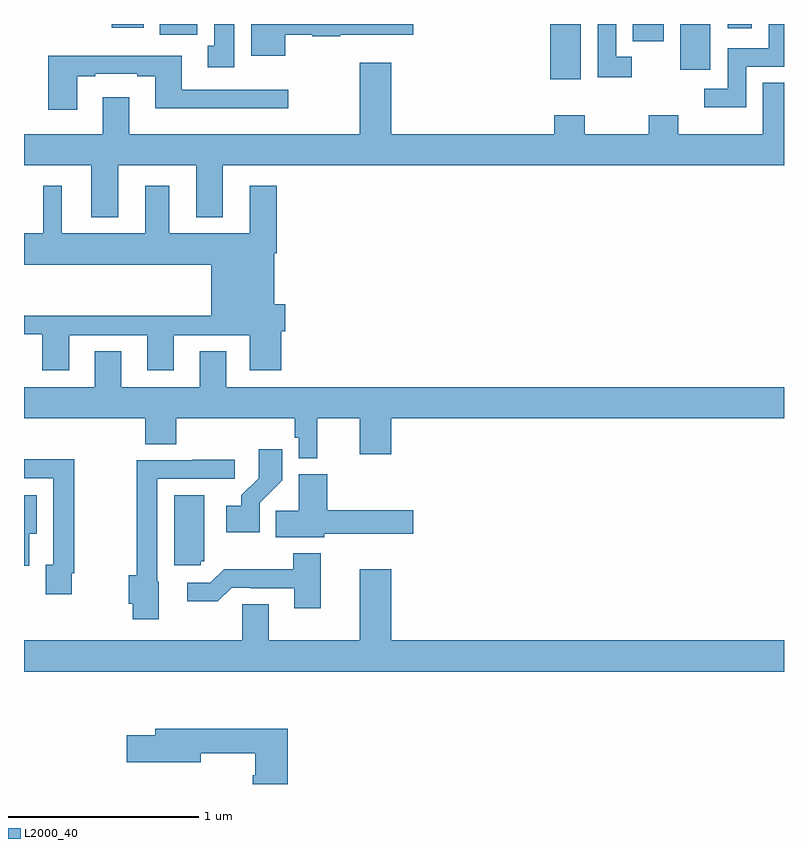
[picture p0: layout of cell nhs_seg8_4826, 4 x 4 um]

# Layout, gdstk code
import gdstk
lib = gdstk.Library(unit=1e-6, precision=1e-09)
def R(c, l, rs):  # rectangles x0, y0, x1, y1
    for r in rs: c.add(gdstk.rectangle(r[:2], r[2:], *l))
def P(c, l, *ps):  # polygons
    for p in ps: c.add(gdstk.Polygon(p, *l))
L2000_40 = (2000, 40)

nhs_seg8_4826 = lib.new_cell('nhs_seg8_4826')
R(nhs_seg8_4826, L2000_40, [(405.77,1127.61,405.931,1127.9), (406.454,1127.66,406.612,1127.9), (406.205,1127.808,406.366,1127.9), (403.715,1127.844,403.911,1127.9), (406.704,1127.877,406.831,1127.9), (403.463,1127.88,403.63,1127.9)])
P(nhs_seg8_4826, L2000_40, [(404.374,1127.844),(404.517,1127.844),(404.517,1127.836),(404.664,1127.836),(404.664,1127.843),(405.049,1127.843),(405.049,1127.9),(404.195,1127.9),(404.195,1127.732),(404.374,1127.732)],
  [(406.198,1127.727),(406.116,1127.727),(406.116,1127.9),(406.02,1127.9),(406.02,1127.619),(406.198,1127.619)],
  [(406.8,1127.676),(407,1127.676),(407,1127.9),(406.919,1127.9),(406.919,1127.772),(406.704,1127.772),(406.704,1127.559),(406.581,1127.559),(406.581,1127.462),(406.8,1127.462)],
  [(404.107,1127.9),(404,1127.9),(404,1127.785),(403.967,1127.785),(403.967,1127.673),(404.107,1127.673)],
  [(403.279,1127.625),(403.375,1127.625),(403.375,1127.637),(403.595,1127.637),(403.595,1127.625),(403.691,1127.625),(403.691,1127.456),(404.392,1127.456),(404.392,1127.553),(403.831,1127.553),(403.831,1127.734),(403.127,1127.734),(403.127,1127.448),(403.279,1127.448)],
  [(403,1127.156),(403.355,1127.156),(403.355,1126.883),(403.495,1126.883),(403.495,1127.156),(403.907,1127.156),(403.907,1126.883),(404.047,1126.883),(404.047,1127.156),(407,1127.156),(407,1127.591),(406.889,1127.591),(406.889,1127.32),(406.443,1127.32),(406.443,1127.419),(406.288,1127.419),(406.288,1127.32),(405.951,1127.32),(405.951,1127.419),(405.791,1127.419),(405.791,1127.32),(404.932,1127.32),(404.932,1127.695),(404.768,1127.695),(404.768,1127.32),(403.555,1127.32),(403.555,1127.515),(403.415,1127.515),(403.415,1127.32),(403,1127.32)],
  [(403.237,1126.263),(403.649,1126.263),(403.649,1126.077),(403.789,1126.077),(403.789,1126.263),(404.189,1126.263),(404.189,1126.077),(404.354,1126.077),(404.354,1126.282),(404.374,1126.282),(404.374,1126.424),(404.317,1126.424),(404.317,1126.694),(404.33,1126.694),(404.33,1127.05),(404.189,1127.05),(404.189,1126.798),(403.765,1126.798),(403.765,1127.05),(403.637,1127.05),(403.637,1126.798),(403.198,1126.798),(403.198,1127.05),(403.1,1127.05),(403.1,1126.798),(403,1126.798),(403,1126.634),(403.985,1126.634),(403.985,1126.364),(403.001,1126.364),(403.001,1126.367),(403,1126.367),(403,1126.266),(403.097,1126.266),(403.097,1126.077),(403.237,1126.077)],
  [(404.544,1125.824),(404.768,1125.824),(404.768,1125.636),(404.932,1125.636),(404.932,1125.824),(407,1125.824),(407,1125.988),(404.065,1125.988),(404.065,1126.178),(403.925,1126.178),(403.925,1125.988),(403.513,1125.988),(403.513,1126.178),(403.373,1126.178),(403.373,1125.988),(403,1125.988),(403,1125.824),(403.637,1125.824),(403.637,1125.688),(403.802,1125.688),(403.802,1125.824),(404.425,1125.824),(404.425,1125.723),(404.445,1125.723),(404.445,1125.614),(404.544,1125.614)],
  [(404.241,1125.379),(404.36,1125.498),(404.36,1125.661),(404.235,1125.661),(404.235,1125.509),(404.144,1125.419),(404.144,1125.364),(404.064,1125.364),(404.064,1125.224),(404.241,1125.224)],
  [(403.251,1125.01),(403.264,1125.01),(403.264,1125.608),(403,1125.608),(403,1125.51),(403.155,1125.51),(403.155,1125.054),(403.115,1125.054),(403.115,1124.898),(403.251,1124.898)],
  [(403.708,1124.964),(403.701,1124.964),(403.701,1125.507),(404.11,1125.507),(404.11,1125.606),(403.885,1125.606),(403.885,1125.603),(403.593,1125.603),(403.593,1124.999),(403.55,1124.999),(403.55,1124.85),(403.572,1124.85),(403.572,1124.768),(403.708,1124.768)],
  [(404.58,1125.218),(405.049,1125.218),(405.049,1125.34),(404.597,1125.34),(404.597,1125.529),(404.447,1125.529),(404.447,1125.338),(404.326,1125.338),(404.326,1125.2),(404.58,1125.2)],
  [(403.929,1125.072),(403.948,1125.072),(403.948,1125.421),(403.79,1125.421),(403.79,1125.051),(403.929,1125.051)],
  [(403.027,1125.218),(403.066,1125.218),(403.066,1125.421),(403,1125.421),(403,1125.05),(403.027,1125.05)],
  [(404.563,1125.115),(404.416,1125.115),(404.416,1125.031),(404.053,1125.031),(403.98,1124.958),(403.86,1124.958),(403.86,1124.861),(404.021,1124.861),(404.094,1124.934),(404.194,1124.934),(404.194,1124.931),(404.423,1124.931),(404.423,1124.826),(404.563,1124.826)],
  [(407,1124.656),(404.932,1124.656),(404.932,1125.031),(404.768,1125.031),(404.768,1124.656),(404.287,1124.656),(404.287,1124.846),(404.148,1124.846),(404.148,1124.656),(403,1124.656),(403,1124.492),(407,1124.492)],
  [(404.387,1124.191),(403.691,1124.191),(403.691,1124.157),(403.542,1124.157),(403.542,1124.015),(403.93,1124.015),(403.93,1124.062),(404.216,1124.062),(404.216,1123.947),(404.204,1123.947),(404.204,1123.9),(404.387,1123.9)])

lib.write_gds('nhs_seg8_4826.gds')
